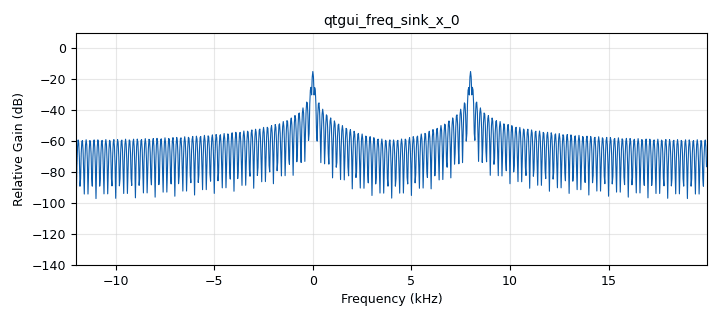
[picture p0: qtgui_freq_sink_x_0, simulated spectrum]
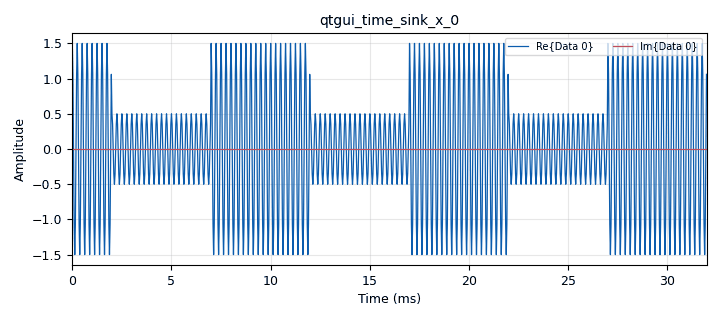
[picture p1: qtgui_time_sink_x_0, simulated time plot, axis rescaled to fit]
options:
  parameters:
    generate_options: qt_gui
    id: ook
    output_language: python
    title: Transmisor OOK
  states: {}

blocks:
- name: samp_rate
  id: variable
  parameters:
    value: '32000'
  states: {}
- name: analog_sig_source_x_0
  id: analog_sig_source_x
  parameters:
    amp: '1'
    freq: '100'
    offset: '0.5'
    phase: '0'
    samp_rate: samp_rate
    type: float
    waveform: analog.GR_SQR_WAVE
  states: {}
- name: analog_sig_source_x_1
  id: analog_sig_source_x
  parameters:
    amp: '1'
    freq: '4000'
    offset: '0'
    phase: '0'
    samp_rate: samp_rate
    type: float
    waveform: analog.GR_COS_WAVE
  states: {}
- name: blocks_float_to_complex_0
  id: blocks_float_to_complex
  parameters: {}
  states: {}
- name: blocks_multiply_xx_0
  id: blocks_multiply_xx
  parameters:
    type: float
  states: {}
- name: qtgui_freq_sink_x_0
  id: qtgui_freq_sink_x
  parameters:
    bw: samp_rate
    fc: '4000'
    fftsize: '1024'
    type: complex
  states: {}
- name: qtgui_time_sink_x_0
  id: qtgui_time_sink_x
  parameters:
    size: '1024'
    srate: samp_rate
    type: complex
  states: {}

connections:
- [analog_sig_source_x_0, '0', blocks_multiply_xx_0, '0']
- [analog_sig_source_x_1, '0', blocks_multiply_xx_0, '1']
- [blocks_float_to_complex_0, '0', qtgui_freq_sink_x_0, '0']
- [blocks_float_to_complex_0, '0', qtgui_time_sink_x_0, '0']
- [blocks_multiply_xx_0, '0', blocks_float_to_complex_0, '0']

metadata:
  file_format: 1
  grc_version: 3.10.12.0
